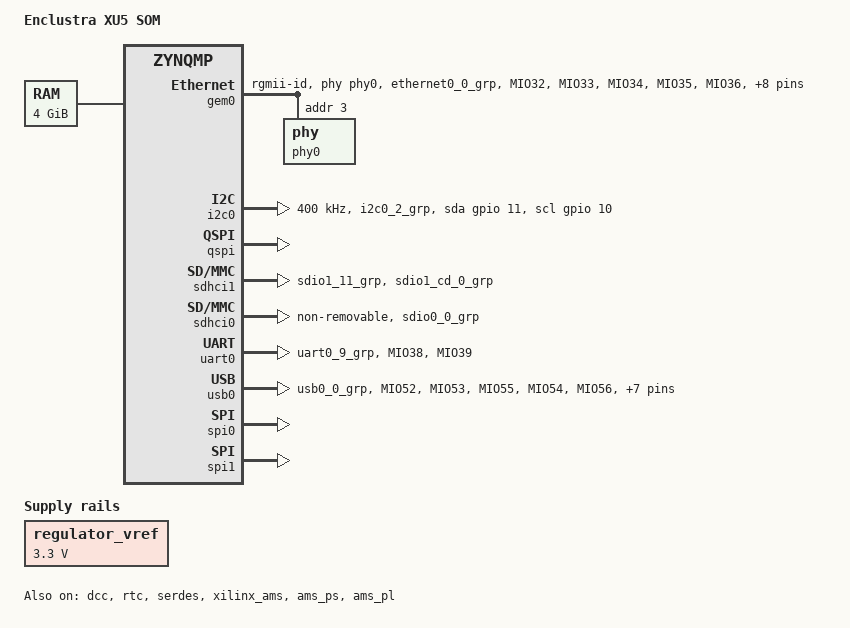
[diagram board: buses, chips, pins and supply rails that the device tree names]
/dts-v1/;

#include "zynqmp.dtsi"
#include "zynqmp-clk-ccf.dtsi"
#include "zynq-enclustra-qspi64-parts.dtsi"
#include <dt-bindings/input/input.h>
#include <dt-bindings/gpio/gpio.h>
#include <dt-bindings/pinctrl/pinctrl-zynqmp.h>
#include <dt-bindings/phy/phy.h>
#include <dt-bindings/interrupt-controller/irq.h>

/*
 * pg201-zynq-ultrascale-plus-processing-system.pdf (PG201 January 6, 2020), Table 2-1
 * * * * * * * * * * *
 * IRQ PL->PS
 * * * * * * * * * * *
 * 121  pl_ps_irq0[0]
 * 122  pl_ps_irq0[1]
 * 123  pl_ps_irq0[2]
 * 124  pl_ps_irq0[3]
 * 125  pl_ps_irq0[4]
 * 126  pl_ps_irq0[5]
 * 127  pl_ps_irq0[6]
 * 128  pl_ps_irq0[7]
 * * * * * * * * * * *
 * IRQ PS->PL
 * * * * * * * * * * *
 * 137  pl_ps_irq1[0]
 * 138  pl_ps_irq1[1]
 * 139  pl_ps_irq1[2]
 * 140  pl_ps_irq1[3]
 * 141  pl_ps_irq1[4]
 * 142  pl_ps_irq1[5]
 * 143  pl_ps_irq1[6]
 * 144  pl_ps_irq1[7]
 * * * * * * * * * * *
 * The IRQ Number in the devicetree
 * is determined as follows:
 * IRQ_devicetree = IRQ - 32
 */

#define USE_GEM0	1
#define USE_GEM1	0
#define ENCLUSTRA	0
#define SPI_ENABLED	1
#define SPI_PINCTRL	0


/ {
	model = "Enclustra XU5 SOM";
	compatible = "xlnx,zynqmp";

	aliases {
#if USE_GEM0
		ethernet0 = &gem0;
#endif
#if USE_GEM1
		ethernet1 = &gem1;
#endif
		gpio0 = &gpio;
		i2c0 = &i2c0;
		mmc0 = &sdhci1;
		//mmc1 = &sdhci0;
		rtc0 = &rtc;
		serial0 = &uart0;
		serial1 = &uart1;
		serial2 = &dcc;
#if 0
		spi0 = &spi0;
		spi1 = &spi1;
#else
		spi1 = &spi0;
		spi2 = &spi1;
		spi0 = &qspi;
#endif
		usb0 = &usb0;
		//usb1 = &usb1;
	};

	chosen {
		bootargs = "console=ttyPS0,115200n8 earlycon clk_ignore_unused cpuidle.off=1";
		stdout-path = "serial0:115200n8";
	};

	memory {
		device_type = "memory";
		//reg = <0x0 0x0 0x0 0x80000000>;
		reg = <0x0 0x0 0x0 0x80000000>, <0x8 0x00000000 0x0 0x80000000>;
	};

#if USE_GEM0
#if ENCLUSTRA
	mdio0 {
		compatible = "cdns,macb-mdio";
		reg = <0x0 0xff0b0000 0x0 0x1000>;
		clocks =  <&zynqmp_clk 45>, <&zynqmp_clk 45>, <&zynqmp_clk 49>;
		clock-names = "pclk", "tx_clk", "hclk";
		#address-cells = <1>;
		#size-cells = <0>;
		phy0: ethernet-phy@3 {
			reg = <3>;
			txc-skew-ps = <1800>;
			txen-skew-ps = <420>;
			txd0-skew-ps = <420>;
			txd1-skew-ps = <420>;
			txd2-skew-ps = <420>;
			txd3-skew-ps = <420>;
			rxc-skew-ps = <900>;
			rxdv-skew-ps = <420>;
			rxd0-skew-ps = <420>;
			rxd1-skew-ps = <420>;
			rxd2-skew-ps = <420>;
			rxd3-skew-ps = <420>;
		};
	};
#endif
#endif

#if USE_GEM1
	mdio1 {
		compatible = "cdns,macb-mdio";
		reg = <0x0 0xff0c0000 0x0 0x1000>;
		clocks =  <&zynqmp_clk 45>, <&zynqmp_clk 45>, <&zynqmp_clk 49>;
		clock-names = "pclk", "tx_clk", "hclk";
		#address-cells = <1>;
		#size-cells = <0>;
		phy1: ethernet-phy@3 {
			reg = <3>;
			txc-skew-ps = <1800>;
			txen-skew-ps = <420>;
			txd0-skew-ps = <420>;
			txd1-skew-ps = <420>;
			txd2-skew-ps = <420>;
			txd3-skew-ps = <420>;
			rxc-skew-ps = <1860>;
			rxdv-skew-ps = <420>;
			rxd0-skew-ps = <0>;
			rxd1-skew-ps = <0>;
			rxd2-skew-ps = <0>;
			rxd3-skew-ps = <0>;
		};
	};
#endif

	regulator_vref: fixedregulator@0 {
		compatible = "regulator-fixed";
		regulator-name = "VREF";
		regulator-min-microvolt = <3300000>;
		regulator-max-microvolt = <3300000>;
		regulator-boot-on;
		regulator-always-on;
	};
};

&fclk0 {
	status = "okay";
};

&fclk1 {
	status = "okay";
};

&dcc {
	status = "okay";
};

&fpd_dma_chan1 {
	status = "okay";
};

&fpd_dma_chan2 {
	status = "okay";
};

&fpd_dma_chan3 {
	status = "okay";
};

&fpd_dma_chan4 {
	status = "okay";
};

&fpd_dma_chan5 {
	status = "okay";
};

&fpd_dma_chan6 {
	status = "okay";
};

&fpd_dma_chan7 {
	status = "okay";
};

&fpd_dma_chan8 {
	status = "okay";
};

#if USE_GEM0
#if ENCLUSTRA
&gem0 {
	status = "okay";
	local-mac-address = [00 0a 35 00 02 90];
	phy = <&phy0>;
	phy-mode = "rgmii-id";
	phy-handle = <&phy0>;
	pinctrl-names = "default";
	pinctrl-0 = <&pinctrl_gem0_default>;
};
#else
&gem0 {
	status = "okay";
	phy-handle = <&phy0>;
	phy-mode = "rgmii-id";
	pinctrl-names = "default";
	pinctrl-0 = <&pinctrl_gem0_default>;
	phy0: phy@3 {
		reg = <3>;
		txc-skew-ps = <1800>;
		txen-skew-ps = <420>;
		txd0-skew-ps = <420>;
		txd1-skew-ps = <420>;
		txd2-skew-ps = <420>;
		txd3-skew-ps = <420>;
		rxc-skew-ps = <900>;
		rxdv-skew-ps = <420>;
		rxd0-skew-ps = <420>;
		rxd1-skew-ps = <420>;
		rxd2-skew-ps = <420>;
		rxd3-skew-ps = <420>;
	};
};
#endif
#endif

#if USE_GEM1
&gem1 {
	status = "okay";
	local-mac-address = [00 0a 35 00 02 91];
	phy = <&phy1>;
	phy-mode = "gmii-id";
	phy-handle = <&phy1>;
	pinctrl-names = "default";
};
#endif

/ {
	fpga_axi: fpga-axi@0 {
		interrupt-parent = <&gic>;
		compatible = "simple-bus";
		#address-cells = <0x1>;
		#size-cells = <0x1>;
		ranges = <0 0 0 0xffffffff>;



	};

};


&i2c0 {
	status = "okay";
	clock-frequency = <400000>;
	pinctrl-names = "default", "gpio";
	pinctrl-0 = <&pinctrl_i2c0_default>;
	pinctrl-1 = <&pinctrl_i2c0_gpio>;
	scl-gpios = <&gpio 10 GPIO_ACTIVE_HIGH>;
	sda-gpios = <&gpio 11 GPIO_ACTIVE_HIGH>;

};

&pinctrl0 {
	status = "okay";

	pinctrl_i2c0_default: i2c0-default {
		mux {
			groups = "i2c0_2_grp";
			function = "i2c0";
		};

		conf {
			groups = "i2c0_2_grp";
			bias-pull-up;
			slew-rate = <SLEW_RATE_SLOW>;
			io-standard = <IO_STANDARD_LVCMOS18>;
		};
	};

	pinctrl_i2c0_gpio: i2c0-gpio {
		mux {
			groups = "gpio0_10_grp", "gpio0_11_grp";
			function = "gpio0";
		};

		conf {
			groups = "gpio0_10_grp", "gpio0_11_grp";
			slew-rate = <SLEW_RATE_SLOW>;
			io-standard = <IO_STANDARD_LVCMOS18>;
		};
	};

	pinctrl_uart0_default: uart0-default {
		mux {
			groups = "uart0_9_grp";
			function = "uart0";
		};

		conf {
			groups = "uart0_9_grp";
			slew-rate = <SLEW_RATE_SLOW>;
			io-standard = <IO_STANDARD_LVCMOS18>;
		};

		conf-rx {
			pins = "MIO38";
			bias-high-impedance;
		};

		conf-tx {
			pins = "MIO39";
			bias-disable;
		};
	};

	pinctrl_usb0_default: usb0-default {
		mux {
			groups = "usb0_0_grp";
			function = "usb0";
		};

		conf {
			groups = "usb0_0_grp";
			slew-rate = <SLEW_RATE_SLOW>;
			io-standard = <IO_STANDARD_LVCMOS18>;
		};

		conf-rx {
			pins = "MIO52", "MIO53", "MIO55";
			bias-high-impedance;
		};

		conf-tx {
			pins = "MIO54", "MIO56", "MIO57", "MIO58", "MIO59",
				   "MIO60", "MIO61", "MIO62", "MIO63";
			bias-disable;
		};
	};

#if USE_GEM0
#if ENCLUSTRA
	pinctrl_gem0_default: gem0-default {
		mux {
			function = "ethernet0";
			groups = "ethernet0_0_grp";
		};

		conf {
			groups = "ethernet0_0_grp";
			slew-rate = <SLEW_RATE_SLOW>;
			io-standard = <IO_STANDARD_LVCMOS18>;
		};

		conf-rx {
			pins = "MIO32", "MIO33", "MIO34", "MIO35", "MIO36", "MIO37";
			bias-high-impedance;
			low-power-disable;
		};

		conf-tx {
			pins = "MIO26", "MIO27", "MIO28", "MIO29", "MIO30", "MIO31";
			bias-disable;
			low-power-enable;
		};
	};
#else
	pinctrl_gem0_default: gem0-default {
		mux {
			function = "ethernet0";
			groups = "ethernet0_0_grp";
		};

		conf {
			groups = "ethernet0_0_grp";
			slew-rate = <SLEW_RATE_SLOW>;
			io-standard = <IO_STANDARD_LVCMOS18>;
		};

		conf-rx {
			pins = "MIO32", "MIO33", "MIO34", "MIO35", "MIO36", "MIO37";
			bias-high-impedance;
			low-power-disable;
		};

		conf-tx {
			pins = "MIO26", "MIO27", "MIO28", "MIO29", "MIO30", "MIO31";
			bias-disable;
			low-power-enable;
		};

		mux-mdio {
			function = "mdio0";
			groups = "mdio0_0_grp";
		};

		conf-mdio {
			groups = "mdio0_0_grp";
			slew-rate = <SLEW_RATE_SLOW>;
			io-standard = <IO_STANDARD_LVCMOS18>;
			bias-disable;
		};
	};
#endif
#endif

	pinctrl_sdhci0_default: sdhci0-default {
		mux {
			groups = "sdio0_0_grp";
			function = "sdio0";
		};

		conf {
			groups = "sdio0_0_grp";
			slew-rate = <SLEW_RATE_SLOW>;
			io-standard = <IO_STANDARD_LVCMOS18>;
			bias-disable;
		};
	};

	pinctrl_sdhci1_default: sdhci1-default {
		mux {
			groups = "sdio1_11_grp";
			function = "sdio1";
		};

		conf {
			groups = "sdio1_11_grp";
			slew-rate = <SLEW_RATE_SLOW>;
			io-standard = <IO_STANDARD_LVCMOS18>;
			bias-disable;
		};

		mux-cd {
			groups = "sdio1_cd_0_grp";
			function = "sdio1_cd";
		};

		conf-cd {
			groups = "sdio1_cd_0_grp";
			bias-high-impedance;
			bias-pull-up;
			slew-rate = <SLEW_RATE_SLOW>;
			io-standard = <IO_STANDARD_LVCMOS18>;
		};

	};

#if SPI_PINCTRL
	pinctrl_spi0_default: spi0-default {
		mux {
			groups = "spi0_0_grp";
			function = "spi0";
		};

		conf {
			groups = "spi0_0_grp";
			bias-disable;
			slew-rate = <SLEW_RATE_SLOW>;
			io-standard = <IO_STANDARD_LVCMOS18>;
		};

		mux-cs {
			groups = "spi0_ss_0_grp", "spi0_ss_1_grp",
							"spi0_ss_2_grp";
			function = "spi0_ss";
		};

		conf-cs {
			groups = "spi0_ss_0_grp", "spi0_ss_1_grp",
							"spi0_ss_2_grp";
			bias-disable;
		};
	};

	pinctrl_spi1_default: spi1-default {
		mux {
			groups = "spi1_3_grp";
			function = "spi1";
		};

		conf {
			groups = "spi1_3_grp";
			bias-disable;
			slew-rate = <SLEW_RATE_SLOW>;
			io-standard = <IO_STANDARD_LVCMOS18>;
		};

		mux-cs {
			groups = "spi1_ss_9_grp", "spi1_ss_10_grp",
							"spi1_ss_11_grp";
			function = "spi1_ss";
		};

		conf-cs {
			groups = "spi1_ss_9_grp", "spi1_ss_10_grp",
							"spi1_ss_11_grp";
			bias-disable;
		};
	};
#endif
};

&qspi {
	status = "okay";
	is-dual = <0>;
};

&rtc {
	status = "okay";
};

&sdhci1 {
	status = "okay";
	pinctrl-names = "default";
	pinctrl-0 = <&pinctrl_sdhci1_default>;
	no-1-8-v;	/* for 1.0 silicon */
	wp-inverted;
	xlnx,mio_bank = <1>;
};

&sdhci0 {
	status = "okay";
	pinctrl-names = "default";
	pinctrl-0 = <&pinctrl_sdhci0_default>;
	non-removable;
	disable-wp;
	xlnx,mio_bank = <0>;
};

&serdes {
	status = "okay";
};

&uart0 {
	status = "okay";
	pinctrl-names = "default";
	pinctrl-0 = <&pinctrl_uart0_default>;
};

/* ULPI SMSC USB3320 */
&usb0 {
	status = "okay";
	pinctrl-names = "default";
	pinctrl-0 = <&pinctrl_usb0_default>;
};

#if SPI_ENABLED
&spi0 {
	status = "okay";
	num-cs = <3>;
//	is-decoded-cs = <0>;
#if SPI_PINCTRL
	pinctrl-names = "default";
	pinctrl-0 = <&pinctrl_spi0_default>;
#endif

};

&spi1 {

	is-decoded-cs = <0>;
	num-cs = <3>;
	status = "okay";


 };

#endif

/* enable SYSMON */
&xilinx_ams {
	status = "okay";
};

/* SYSMON (PS) */
&ams_ps {
	status = "okay";
};

/* SYSMON (PL) */
&ams_pl {
	status = "okay";
};

&gpio {
	status = "okay";
};
